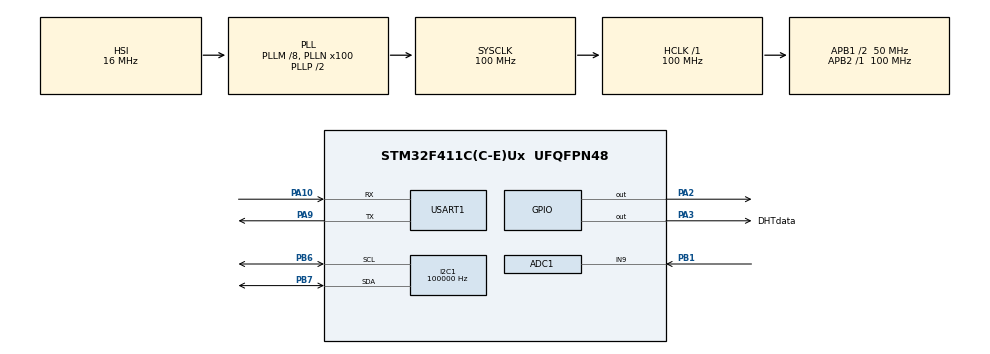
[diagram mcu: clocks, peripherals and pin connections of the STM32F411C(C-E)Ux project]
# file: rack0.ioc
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ADC1.Channel-0\#ChannelRegularConversion=ADC_CHANNEL_9
ADC1.NbrOfConversion=1
ADC1.NbrOfConversionFlag=1
ADC1.Rank-0\#ChannelRegularConversion=1
ADC1.SamplingTime-0\#ChannelRegularConversion=ADC_SAMPLETIME_3CYCLES
ADC1.master=1
I2C1.ClockSpeed=100000
Mcu.Family=STM32F4
Mcu.Name=STM32F411C(C-E)Ux
Mcu.Package=UFQFPN48
NVIC.PriorityGroup=NVIC_PRIORITYGROUP_4
NVIC.USART1_IRQn=true\:0\:0\:false\:false\:true\:true\:true\:true
PA10.Mode=Asynchronous
PA10.Signal=USART1_RX
PA13.Mode=Serial_Wire
PA13.Signal=SYS_JTMS-SWDIO
PA14.Mode=Serial_Wire
PA14.Signal=SYS_JTCK-SWCLK
PA2.Signal=GPIO_Output
PA3.GPIO_Label=DHTdata
PA3.Signal=GPIO_Output
PA9.Mode=Asynchronous
PA9.Signal=USART1_TX
PB1.Signal=ADCx_IN9
PB6.Mode=I2C
PB6.Signal=I2C1_SCL
PB7.Mode=I2C
PB7.Signal=I2C1_SDA
PC14-OSC32_IN.Mode=LSE-External-Oscillator
PC14-OSC32_IN.Signal=RCC_OSC32_IN
PC15-OSC32_OUT.Mode=LSE-External-Oscillator
PC15-OSC32_OUT.Signal=RCC_OSC32_OUT
PH0\ -\ OSC_IN.Mode=HSE-External-Oscillator
PH0\ -\ OSC_IN.Signal=RCC_OSC_IN
PH1\ -\ OSC_OUT.Mode=HSE-External-Oscillator
PH1\ -\ OSC_OUT.Signal=RCC_OSC_OUT
ProjectManager.HeapSize=0x200
ProjectManager.StackSize=0x400
ProjectManager.TargetToolchain=STM32CubeIDE
RCC.48MHZClocksFreq_Value=50000000
RCC.AHBFreq_Value=100000000
RCC.APB1CLKDivider=RCC_HCLK_DIV2
RCC.APB1Freq_Value=50000000
RCC.APB1TimFreq_Value=100000000
RCC.APB2Freq_Value=100000000
RCC.APB2TimFreq_Value=100000000
RCC.CortexFreq_Value=100000000
RCC.HCLKFreq_Value=100000000
RCC.HSE_VALUE=25000000
RCC.HSI_VALUE=16000000
RCC.PLLM=8
RCC.PLLN=100
RCC.SYSCLKFreq_VALUE=100000000
RCC.SYSCLKSource=RCC_SYSCLKSOURCE_PLLCLK
RCC.VCOOutputFreq_Value=200000000
SH.ADCx_IN9.0=ADC1_IN9,IN9
TIM11.AutoReloadPreload=TIM_AUTORELOAD_PRELOAD_DISABLE
TIM11.Period=0xffff
TIM11.Prescaler=100-1
USART1.VirtualMode=VM_ASYNC
VP_TIM11_VS_ClockSourceINT.Mode=Enable_Timer
board=custom

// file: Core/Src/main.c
/* USER CODE BEGIN Header */
/**
 ******************************************************************************
 * @file           : main.c
 * @brief          : Main program body
 ******************************************************************************
 * @attention
 *
 * Copyright (c) 2024 STMicroelectronics.
 * All rights reserved.
 *
 * This software is licensed under terms that can be found in the LICENSE file
 * in the root directory of this software component.
 * If no LICENSE file comes with this software, it is provided AS-IS.
 *
 ******************************************************************************
 */
/* USER CODE END Header */
#include "main.h"

/* USER CODE BEGIN Includes */
// Standard C libraries
#include <math.h>

// User's libraries
// #include "bme680.h"
#include "utils.h"
#include "DHT11_22.h"
#include "phADC.h"
#include "DS18B20.h"

/* USER CODE END Includes */

ADC_HandleTypeDef hadc1;

I2C_HandleTypeDef hi2c1;

TIM_HandleTypeDef htim11;

UART_HandleTypeDef huart1;

/* USER CODE BEGIN PV */

// BME680 VARIABLES

// ds18b20 Variables
uint8_t Temp_byte1, Temp_byte2;
uint8_t Presence = 0;
uint16_t TEMPraw;
float Tem_water = 0;

// ph
PHsensor PHsens;

// DHT22
uint8_t DHThumedad[2];     // Two bytes storage for the reading
uint8_t DHTtemperatura[2]; // Two bytes storage for the reading

// UART parsing variables
uint8_t Final_Data[50];
uint8_t RxData[50];
uint8_t temp[2]; // [dataBYE][null chcaracter]
int ind = 0;

/* USER CODE END PV */

void SystemClock_Config(void);
static void MX_GPIO_Init(void);
static void MX_I2C1_Init(void);
static void MX_USART1_UART_Init(void);
static void MX_TIM11_Init(void);
static void MX_ADC1_Init(void);
/* USER CODE BEGIN PFP */

void I2C_Scan(void);

/* USER CODE END PFP */

int main(void)
{

  /* MCU Configuration--------------------------------------------------------*/

  /* Reset of all peripherals, Initializes the Flash interface and the Systick. */
  HAL_Init();

  /* Configure the system clock */
  SystemClock_Config();

  /* Initialize all configured peripherals */
  MX_GPIO_Init();
  MX_I2C1_Init();
  MX_USART1_UART_Init();
  MX_TIM11_Init();
  MX_ADC1_Init();
  /* USER CODE BEGIN 2 */

  // HW
  HAL_TIM_Base_Start(&htim11); // used for Us delay in Utils.h
  HAL_UART_Receive_IT(&huart1, temp, strlen(temp));

  // SENSORS INITIALIZATION
  /* BME680*/
  // I2C_Scan();

  /* PH sensor*/
  initPHsensor(&PHsens, 2.0, 1.66, 1.386);

  /* TDS sensor */

  /* EC sensor */

  /* DS18S20 sensor */

  /* USER CODE END 2 */

  /* Infinite loop */
  while (1)
  {

    /* USER CODE BEGIN 3 */
    /* BME680 */

    /* DHT22  */
    DHT_init();
    if (DHT_Check_Response() == -1)
    {
      publishTopic(TOPIC_AMBIENT_HUMIDITY, NAN);
      publishTopic(TOPIC_AMBIENT_TEMPERATURE, NAN);
    }
    else
    {
      DHThumedad[0] = DHT_Read();     // byte0
      DHThumedad[1] = DHT_Read();     // byte1
      DHTtemperatura[0] = DHT_Read(); // byte2
      DHTtemperatura[1] = DHT_Read(); // byte3

      publishTopic(TOPIC_AMBIENT_HUMIDITY, (float)(((DHThumedad[0] << 8) | DHThumedad[1]) / 10.0));
      publishTopic(TOPIC_AMBIENT_TEMPERATURE, (float)(((DHTtemperatura[0] << 8) | DHTtemperatura[1]) / 10.0));
    }

    /* TDS */
    // publishTopic(TOPIC_WATER_TDS,tds);

    /* EC */
    // publishTopic(TOPIC_WATER_EC,ec);

    /* PH */
    readPH(&PHsens);
    publishTopic(TOPIC_WATER_PH, PHsens.ph);

    /* TEMP_water */
    Presence = DS18B20_Start();
    DS18B20_Write(0xCC); // skip ROM
    DS18B20_Write(0x44); // convert t

    Presence = DS18B20_Start();
    DS18B20_Write(0xCC); // skip ROM
    DS18B20_Write(0xBE); // Read Scratch-pad

    Temp_byte1 = DS18B20_Read();
    Temp_byte2 = DS18B20_Read();
    TEMPraw = ((Temp_byte2 << 8)) | Temp_byte1;
    Tem_water = (float)TEMPraw / 16.0; // resolution is 0.0625

    publishTopic(TOPIC_WATER_TEMPERATURE, Tem_water);
  }
  /* USER CODE END 3 */
}

void SystemClock_Config(void)
{
  RCC_OscInitTypeDef RCC_OscInitStruct = {0};
  RCC_ClkInitTypeDef RCC_ClkInitStruct = {0};

  /** Configure the main internal regulator output voltage
   */
  __HAL_RCC_PWR_CLK_ENABLE();
  __HAL_PWR_VOLTAGESCALING_CONFIG(PWR_REGULATOR_VOLTAGE_SCALE1);

  /** Initializes the RCC Oscillators according to the specified parameters
   * in the RCC_OscInitTypeDef structure.
   */
  RCC_OscInitStruct.OscillatorType = RCC_OSCILLATORTYPE_HSI;
  RCC_OscInitStruct.HSIState = RCC_HSI_ON;
  RCC_OscInitStruct.HSICalibrationValue = RCC_HSICALIBRATION_DEFAULT;
  RCC_OscInitStruct.PLL.PLLState = RCC_PLL_ON;
  RCC_OscInitStruct.PLL.PLLSource = RCC_PLLSOURCE_HSI;
  RCC_OscInitStruct.PLL.PLLM = 8;
  RCC_OscInitStruct.PLL.PLLN = 100;
  RCC_OscInitStruct.PLL.PLLP = RCC_PLLP_DIV2;
  RCC_OscInitStruct.PLL.PLLQ = 4;
  if (HAL_RCC_OscConfig(&RCC_OscInitStruct) != HAL_OK)
  {
    Error_Handler();
  }

  /** Initializes the CPU, AHB and APB buses clocks
   */
  RCC_ClkInitStruct.ClockType = RCC_CLOCKTYPE_HCLK | RCC_CLOCKTYPE_SYSCLK | RCC_CLOCKTYPE_PCLK1 | RCC_CLOCKTYPE_PCLK2;
  RCC_ClkInitStruct.SYSCLKSource = RCC_SYSCLKSOURCE_PLLCLK;
  RCC_ClkInitStruct.AHBCLKDivider = RCC_SYSCLK_DIV1;
  RCC_ClkInitStruct.APB1CLKDivider = RCC_HCLK_DIV2;
  RCC_ClkInitStruct.APB2CLKDivider = RCC_HCLK_DIV1;

  if (HAL_RCC_ClockConfig(&RCC_ClkInitStruct, FLASH_LATENCY_3) != HAL_OK)
  {
    Error_Handler();
  }
}

static void MX_ADC1_Init(void)
{

  ADC_ChannelConfTypeDef sConfig = {0};

  /** Configure the global features of the ADC (Clock, Resolution, Data Alignment and number of conversion)
   */
  hadc1.Instance = ADC1;
  hadc1.Init.ClockPrescaler = ADC_CLOCK_SYNC_PCLK_DIV4;
  hadc1.Init.Resolution = ADC_RESOLUTION_12B;
  hadc1.Init.ScanConvMode = DISABLE;
  hadc1.Init.ContinuousConvMode = DISABLE;
  hadc1.Init.DiscontinuousConvMode = DISABLE;
  hadc1.Init.ExternalTrigConvEdge = ADC_EXTERNALTRIGCONVEDGE_NONE;
  hadc1.Init.ExternalTrigConv = ADC_SOFTWARE_START;
  hadc1.Init.DataAlign = ADC_DATAALIGN_RIGHT;
  hadc1.Init.NbrOfConversion = 1;
  hadc1.Init.DMAContinuousRequests = DISABLE;
  hadc1.Init.EOCSelection = ADC_EOC_SINGLE_CONV;
  if (HAL_ADC_Init(&hadc1) != HAL_OK)
  {
    Error_Handler();
  }

  /** Configure for the selected ADC regular channel its corresponding rank in the sequencer and its sample time.
   */
  sConfig.Channel = ADC_CHANNEL_9;
  sConfig.Rank = 1;
  sConfig.SamplingTime = ADC_SAMPLETIME_3CYCLES;
  if (HAL_ADC_ConfigChannel(&hadc1, &sConfig) != HAL_OK)
  {
    Error_Handler();
  }
}

static void MX_I2C1_Init(void)
{

  hi2c1.Instance = I2C1;
  hi2c1.Init.ClockSpeed = 100000;
  hi2c1.Init.DutyCycle = I2C_DUTYCYCLE_2;
  hi2c1.Init.OwnAddress1 = 0;
  hi2c1.Init.AddressingMode = I2C_ADDRESSINGMODE_7BIT;
  hi2c1.Init.DualAddressMode = I2C_DUALADDRESS_DISABLE;
  hi2c1.Init.OwnAddress2 = 0;
  hi2c1.Init.GeneralCallMode = I2C_GENERALCALL_DISABLE;
  hi2c1.Init.NoStretchMode = I2C_NOSTRETCH_DISABLE;
  if (HAL_I2C_Init(&hi2c1) != HAL_OK)
  {
    Error_Handler();
  }
}

static void MX_TIM11_Init(void)
{

  htim11.Instance = TIM11;
  htim11.Init.Prescaler = 100 - 1;
  htim11.Init.CounterMode = TIM_COUNTERMODE_UP;
  htim11.Init.Period = 0xffff;
  htim11.Init.ClockDivision = TIM_CLOCKDIVISION_DIV1;
  htim11.Init.AutoReloadPreload = TIM_AUTORELOAD_PRELOAD_DISABLE;
  if (HAL_TIM_Base_Init(&htim11) != HAL_OK)
  {
    Error_Handler();
  }
}

static void MX_USART1_UART_Init(void)
{

  huart1.Instance = USART1;
  huart1.Init.BaudRate = 115200;
  huart1.Init.WordLength = UART_WORDLENGTH_8B;
  huart1.Init.StopBits = UART_STOPBITS_1;
  huart1.Init.Parity = UART_PARITY_NONE;
  huart1.Init.Mode = UART_MODE_TX_RX;
  huart1.Init.HwFlowCtl = UART_HWCONTROL_NONE;
  huart1.Init.OverSampling = UART_OVERSAMPLING_16;
  if (HAL_UART_Init(&huart1) != HAL_OK)
  {
    Error_Handler();
  }
}

static void MX_GPIO_Init(void)
{
  GPIO_InitTypeDef GPIO_InitStruct = {0};

  /* GPIO Ports Clock Enable */
  __HAL_RCC_GPIOC_CLK_ENABLE();
  __HAL_RCC_GPIOH_CLK_ENABLE();
  __HAL_RCC_GPIOA_CLK_ENABLE();
  __HAL_RCC_GPIOB_CLK_ENABLE();

  /*Configure GPIO pin Output Level */
  HAL_GPIO_WritePin(GPIOA, GPIO_PIN_2 | DHTdata_Pin, GPIO_PIN_RESET);

  /*Configure GPIO pins : PA2 DHTdata_Pin */
  GPIO_InitStruct.Pin = GPIO_PIN_2 | DHTdata_Pin;
  GPIO_InitStruct.Mode = GPIO_MODE_OUTPUT_PP;
  GPIO_InitStruct.Pull = GPIO_NOPULL;
  GPIO_InitStruct.Speed = GPIO_SPEED_FREQ_LOW;
  HAL_GPIO_Init(GPIOA, &GPIO_InitStruct);

}

/* USER CODE BEGIN 4 */

void HAL_UART_RxCpltCallback(UART_HandleTypeDef *huart)
{
  memcpy(RxData + ind, temp, 1);
  if (ind++ >= 50)
  {
    indx = 0;
  }

  if (temp[0] == '\n')
  {
    memcpy(FinalData, RxData, indx);
    indx = 0;
  }

  HAL_UART_Receive_IT(&huart1, temp, 1); // start next data receive interrupt
}

void I2C_Scan(void)
{
  char buffer[25];
  int buffer_len;
  HAL_StatusTypeDef result;
  uint8_t i;
  buffer_len = sprintf(buffer, "Scanning I2C bus:\r\n");
  HAL_UART_Transmit(&huart1, (uint8_t *)buffer, buffer_len, 1000);

  for (i = 1; i < 128; i++)
  {
    result = HAL_I2C_IsDeviceReady(&hi2c1, (uint16_t)(i << 1), 2, 2);
    if (result == HAL_OK)
    {
      buffer_len = sprintf(buffer, "0x%02X ", i);
      HAL_UART_Transmit(&huart1, (uint8_t *)buffer, buffer_len, 1000);
    }
  }
  buffer_len = sprintf(buffer, "\r\n");
  HAL_UART_Transmit(&huart1, (uint8_t *)buffer, buffer_len, 1000);
}
/* USER CODE END 4 */

void Error_Handler(void)
{
  __disable_irq();
  while (1)
  {
  }
}
